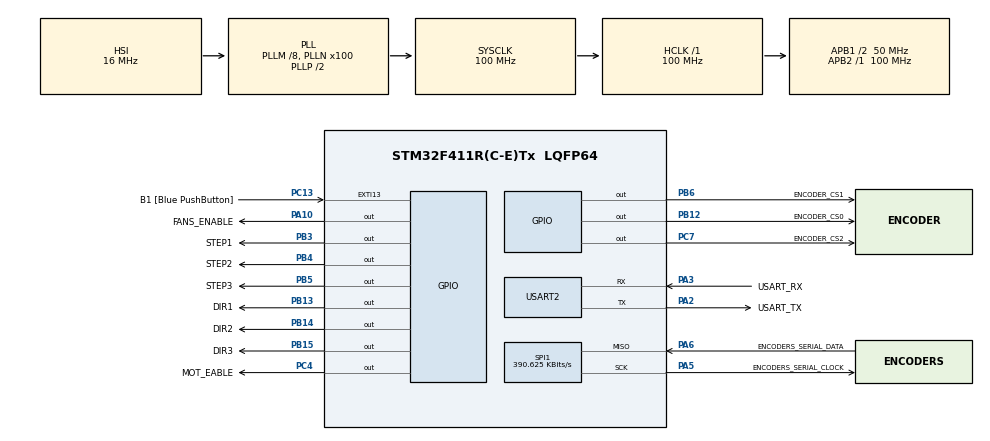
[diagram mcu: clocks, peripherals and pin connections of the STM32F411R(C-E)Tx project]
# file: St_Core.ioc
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Mcu.Family=STM32F4
Mcu.Name=STM32F411R(C-E)Tx
Mcu.Package=LQFP64
NVIC.PriorityGroup=NVIC_PRIORITYGROUP_2
NVIC.TIM1_TRG_COM_TIM11_IRQn=true\:2\:2\:true\:false\:true\:true
NVIC.TIM1_UP_TIM10_IRQn=true\:1\:1\:true\:false\:true\:true
NVIC.TIM3_IRQn=true\:1\:1\:true\:false\:true\:true
NVIC.USART2_IRQn=true\:0\:0\:false\:false\:true\:true
PA10.GPIO_Label=FANS_ENABLE
PA10.Signal=GPIO_Output
PA13.GPIO_Label=TMS
PA13.Mode=Serial_Wire
PA13.Signal=SYS_JTMS-SWDIO
PA14.GPIO_Label=TCK
PA14.Mode=Serial_Wire
PA14.Signal=SYS_JTCK-SWCLK
PA2.GPIO_Label=USART_TX
PA2.Mode=Asynchronous
PA2.Signal=USART2_TX
PA3.GPIO_Label=USART_RX
PA3.Mode=Asynchronous
PA3.Signal=USART2_RX
PA5.GPIO_Label=ENCODERS_SERIAL_CLOCK
PA5.Mode=RX_Only_Simplex_Unidirect_Master
PA5.Signal=SPI1_SCK
PA6.GPIO_Label=ENCODERS_SERIAL_DATA
PA6.Mode=RX_Only_Simplex_Unidirect_Master
PA6.Signal=SPI1_MISO
PB12.GPIO_Label=ENCODER_CS0
PB12.Signal=GPIO_Output
PB13.GPIO_Label=DIR1
PB13.Signal=GPIO_Output
PB14.GPIO_Label=DIR2
PB14.Signal=GPIO_Output
PB15.GPIO_Label=DIR3
PB15.Signal=GPIO_Output
PB3.GPIO_Label=STEP1
PB3.Signal=GPIO_Output
PB4.GPIO_Label=STEP2
PB4.Signal=GPIO_Output
PB5.GPIO_Label=STEP3
PB5.Signal=GPIO_Output
PB6.GPIO_Label=ENCODER_CS1
PB6.Signal=GPIO_Output
PC13-ANTI_TAMP.GPIO_Label=B1 [Blue PushButton]
PC13-ANTI_TAMP.GPIO_ModeDefaultEXTI=GPIO_MODE_IT_FALLING
PC13-ANTI_TAMP.Signal=GPXTI13
PC14-OSC32_IN.Mode=LSE-External-Oscillator
PC14-OSC32_IN.Signal=RCC_OSC32_IN
PC15-OSC32_OUT.Mode=LSE-External-Oscillator
PC15-OSC32_OUT.Signal=RCC_OSC32_OUT
PC4.GPIO_Label=MOT_EABLE
PC4.Signal=GPIO_Output
PC7.GPIO_Label=ENCODER_CS2
PC7.Signal=GPIO_Output
PH0\ -\ OSC_IN.Mode=HSE-External-Clock-Source
PH0\ -\ OSC_IN.Signal=RCC_OSC_IN
PH1\ -\ OSC_OUT.Mode=HSE-External-Clock-Source
PH1\ -\ OSC_OUT.Signal=RCC_OSC_OUT
ProjectManager.HeapSize=0x200
ProjectManager.StackSize=0x400
ProjectManager.TargetToolchain=SW4STM32
RCC.48MHZClocksFreq_Value=50000000
RCC.AHBFreq_Value=100000000
RCC.APB1CLKDivider=RCC_HCLK_DIV2
RCC.APB1Freq_Value=50000000
RCC.APB1TimFreq_Value=100000000
RCC.APB2Freq_Value=100000000
RCC.APB2TimFreq_Value=100000000
RCC.CortexFreq_Value=100000000
RCC.FLatency-AdvancedSettings=FLASH_LATENCY_3
RCC.HCLKFreq_Value=100000000
RCC.HSE_VALUE=8000000
RCC.HSI_VALUE=16000000
RCC.PLLM=8
RCC.PLLN=100
RCC.SYSCLKFreq_VALUE=100000000
RCC.SYSCLKSource=RCC_SYSCLKSOURCE_PLLCLK
RCC.VCOOutputFreq_Value=200000000
SPI1.BaudRatePrescaler=SPI_BAUDRATEPRESCALER_256
SPI1.CLKPhase=SPI_PHASE_2EDGE
SPI1.CLKPolarity=SPI_POLARITY_HIGH
SPI1.CalculateBaudRate=390.625 KBits/s
SPI1.DataSize=SPI_DATASIZE_16BIT
SPI1.Direction=SPI_DIRECTION_2LINES_RXONLY
SPI1.Mode=SPI_MODE_MASTER
SPI1.VirtualType=VM_MASTER
TIM10.Period=10
TIM10.Prescaler=30
TIM11.Period=1007
TIM11.Prescaler=28
TIM3.Period=1000
TIM3.Prescaler=130
TIM3.TIM_MasterSlaveMode=TIM_MASTERSLAVEMODE_DISABLE
USART2.VirtualMode=VM_ASYNC
VP_TIM10_VS_ClockSourceINT.Mode=Enable_Timer
VP_TIM11_VS_ClockSourceINT.Mode=Enable_Timer
VP_TIM3_VS_ClockSourceINT.Mode=Internal
board=NUCLEO-F411RE

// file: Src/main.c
/**
  ******************************************************************************
  * @file           : main.c
  * @brief          : Main program body
  ******************************************************************************
  ** This notice applies to any and all portions of this file
  * that are not between comment pairs USER CODE BEGIN and
  * USER CODE END. Other portions of this file, whether
  * inserted by the user or by software development tools
  * are owned by their respective copyright owners.
  *
  * COPYRIGHT(c) 2018 STMicroelectronics
  *
  * Redistribution and use in source and binary forms, with or without modification,
  * are permitted provided that the following conditions are met:
  *   1. Redistributions of source code must retain the above copyright notice,
  *      this list of conditions and the following disclaimer.
  *   2. Redistributions in binary form must reproduce the above copyright notice,
  *      this list of conditions and the following disclaimer in the documentation
  *      and/or other materials provided with the distribution.
  *   3. Neither the name of STMicroelectronics nor the names of its contributors
  *      may be used to endorse or promote products derived from this software
  *      without specific prior written permission.
  *
  * THIS SOFTWARE IS PROVIDED BY THE COPYRIGHT HOLDERS AND CONTRIBUTORS "AS IS"
  * AND ANY EXPRESS OR IMPLIED WARRANTIES, INCLUDING, BUT NOT LIMITED TO, THE
  * IMPLIED WARRANTIES OF MERCHANTABILITY AND FITNESS FOR A PARTICULAR PURPOSE ARE
  * DISCLAIMED. IN NO EVENT SHALL THE COPYRIGHT HOLDER OR CONTRIBUTORS BE LIABLE
  * FOR ANY DIRECT, INDIRECT, INCIDENTAL, SPECIAL, EXEMPLARY, OR CONSEQUENTIAL
  * DAMAGES (INCLUDING, BUT NOT LIMITED TO, PROCUREMENT OF SUBSTITUTE GOODS OR
  * SERVICES; LOSS OF USE, DATA, OR PROFITS; OR BUSINESS INTERRUPTION) HOWEVER
  * CAUSED AND ON ANY THEORY OF LIABILITY, WHETHER IN CONTRACT, STRICT LIABILITY,
  * OR TORT (INCLUDING NEGLIGENCE OR OTHERWISE) ARISING IN ANY WAY OUT OF THE USE
  * OF THIS SOFTWARE, EVEN IF ADVISED OF THE POSSIBILITY OF SUCH DAMAGE.
  *
  ******************************************************************************
  */
#include "main.h"
#include "stm32f4xx_hal.h"
#include "spi.h"
#include "tim.h"
#include "usart.h"
#include "gpio.h"

/* USER CODE BEGIN Includes */
#include "Comms.h"
//#include "encoder_lib.h"
//#include "Steper.h"

/* USER CODE END Includes */

/* USER CODE BEGIN PV */
/* Private variables ---------------------------------------------------------*/

/* USER CODE END PV */

void SystemClock_Config(void);

/* USER CODE BEGIN PFP */
/* Private function prototypes -----------------------------------------------*/
//uint8_t Received[8];
int encoder_update;
incoming_buffer buffer;
int size=32;
float e1,e2,e3;

void HAL_UART_RxCpltCallback(UART_HandleTypeDef *huart)
{
	gather(&buffer);
	HAL_UART_Receive_IT(&huart2, &buffer.Byte, 1);

}
void HAL_TIM_PeriodElapsedCallback(TIM_HandleTypeDef *htim)
{

	if(htim->Instance == TIM3)
	{
			//	e_read(&mot[0].info.enc_pos,0);
			//	e_read(&mot[1].info.enc_pos,1);
			//	e_read(&mot[2].info.enc_pos,2);

	}
	else if(htim->Instance == TIM10)
	{
		if(buffer.flag==1)
				{
					//HAL_GPIO_TogglePin(LD2_GPIO_Port,LD2_Pin);
					HAL_UART_Transmit_IT(&huart2, buffer.Send_, size);
					//HAL_UART_Transmit_IT(&huart1, buffer.Send_, size);
					buffer.flag=0;
				}

		Stepper_Counter_0++;	 Stepper_Counter_1++ ;	 Stepper_Counter_2++;

		//////////////////////////Stepper_0///////////////////////////////
		///////////      DIR1_Pin-Direction STEP1_Pin-Step              /////////////
		Period_Control(&mot[0],&Stepper_Counter_0);
		/////////////////////////////Stepper_1/////////////////////////////////////////////////////////////
		//////////////////////			 DIR2_Pin-Direction STEP2_Pin-Step								///////////////
		Period_Control(&mot[1],&Stepper_Counter_1);
		/////////////////////////////Stepper_2///////////////////////////////////////
		///////////			 DIR3_Pin-Direction STEP3_Pin-Step			/////////////////////////
		Period_Control(&mot[2],&Stepper_Counter_2);

	}
}

/* USER CODE END PFP */

int main(void)
{

  /* MCU Configuration----------------------------------------------------------*/

  /* Reset of all peripherals, Initializes the Flash interface and the Systick. */
  HAL_Init();

  /* USER CODE BEGIN Init */
  buffer.container.what=0;
  buffer.flag=0;
  buffer.status=0;
  mot[0].GPIO_STEP_PORT=STEP1_GPIO_Port;
  mot[0].GPIO_STEP_PIN=STEP1_Pin;
  mot[0].GPIO_TURN_PORT=DIR1_GPIO_Port;
  mot[0].GPIO_TURN_PIN=DIR1_Pin;

  mot[1].GPIO_STEP_PORT=STEP2_GPIO_Port;
  mot[1].GPIO_STEP_PIN=STEP2_Pin;
  mot[1].GPIO_TURN_PORT=DIR2_GPIO_Port;
  mot[1].GPIO_TURN_PIN=DIR2_Pin;

  mot[2].GPIO_STEP_PORT=STEP3_GPIO_Port;
  mot[2].GPIO_STEP_PIN=STEP3_Pin;
  mot[2].GPIO_TURN_PORT=DIR3_GPIO_Port;
  mot[3].GPIO_TURN_PIN=DIR3_Pin;

  /* USER CODE END Init */

  /* Configure the system clock */
  SystemClock_Config();

  /* Initialize all configured peripherals */
  MX_GPIO_Init();
  MX_USART2_UART_Init();
  MX_TIM10_Init();
  MX_TIM11_Init();
  MX_SPI1_Init();
  MX_TIM3_Init();
  /* USER CODE BEGIN 2 */
  HAL_UART_Receive_IT(&huart2, &buffer.Byte, 1);
  HAL_TIM_Base_Start_IT(&htim10);
  HAL_TIM_Base_Start_IT(&htim3);

 // ST_MOT_Init(2,0.1,5000,200);

	//ST_MOT_Init(1,0.01,10000,100);
	//ST_MOT_Init(0,0.1,10000,100); 	// initial engine values
	//Movement_Prep(2,0);				    // selecting stepper, and position iN radians.
PIN_INIT();
  /* USER CODE END 2 */

  /* Infinite loop */
  while (1)
  {

  }

}

void SystemClock_Config(void)
{

  RCC_OscInitTypeDef RCC_OscInitStruct;
  RCC_ClkInitTypeDef RCC_ClkInitStruct;

    /**Configure the main internal regulator output voltage
    */
  __HAL_RCC_PWR_CLK_ENABLE();

  __HAL_PWR_VOLTAGESCALING_CONFIG(PWR_REGULATOR_VOLTAGE_SCALE1);

    /**Initializes the CPU, AHB and APB busses clocks
    */
  RCC_OscInitStruct.OscillatorType = RCC_OSCILLATORTYPE_HSI;
  RCC_OscInitStruct.HSIState = RCC_HSI_ON;
  RCC_OscInitStruct.HSICalibrationValue = 16;
  RCC_OscInitStruct.PLL.PLLState = RCC_PLL_ON;
  RCC_OscInitStruct.PLL.PLLSource = RCC_PLLSOURCE_HSI;
  RCC_OscInitStruct.PLL.PLLM = 8;
  RCC_OscInitStruct.PLL.PLLN = 100;
  RCC_OscInitStruct.PLL.PLLP = RCC_PLLP_DIV2;
  RCC_OscInitStruct.PLL.PLLQ = 4;
  if (HAL_RCC_OscConfig(&RCC_OscInitStruct) != HAL_OK)
  {
    _Error_Handler(__FILE__, __LINE__);
  }

    /**Initializes the CPU, AHB and APB busses clocks
    */
  RCC_ClkInitStruct.ClockType = RCC_CLOCKTYPE_HCLK|RCC_CLOCKTYPE_SYSCLK
                              |RCC_CLOCKTYPE_PCLK1|RCC_CLOCKTYPE_PCLK2;
  RCC_ClkInitStruct.SYSCLKSource = RCC_SYSCLKSOURCE_PLLCLK;
  RCC_ClkInitStruct.AHBCLKDivider = RCC_SYSCLK_DIV1;
  RCC_ClkInitStruct.APB1CLKDivider = RCC_HCLK_DIV2;
  RCC_ClkInitStruct.APB2CLKDivider = RCC_HCLK_DIV1;

  if (HAL_RCC_ClockConfig(&RCC_ClkInitStruct, FLASH_LATENCY_3) != HAL_OK)
  {
    _Error_Handler(__FILE__, __LINE__);
  }

    /**Configure the Systick interrupt time
    */
  HAL_SYSTICK_Config(HAL_RCC_GetHCLKFreq()/1000);

    /**Configure the Systick
    */
  HAL_SYSTICK_CLKSourceConfig(SYSTICK_CLKSOURCE_HCLK);

  /* SysTick_IRQn interrupt configuration */
  HAL_NVIC_SetPriority(SysTick_IRQn, 0, 0);
}

void _Error_Handler(char *file, int line)
{
  while(1)
  {
  }
}

/************************ (C) COPYRIGHT STMicroelectronics *****END OF FILE****/
